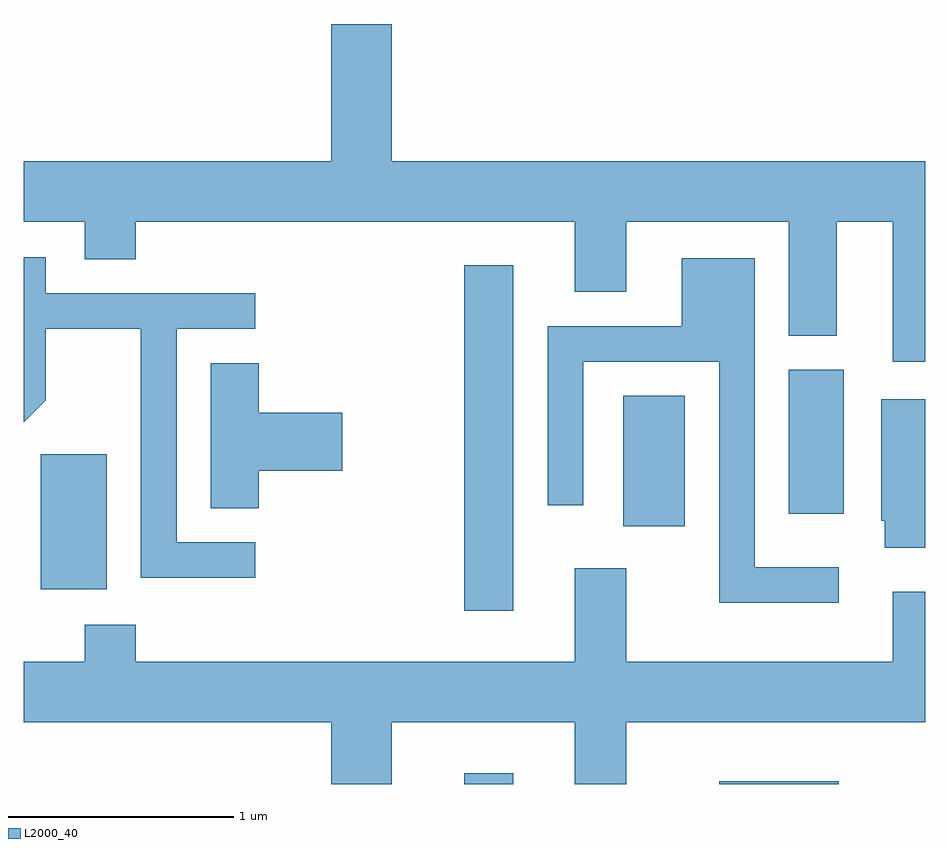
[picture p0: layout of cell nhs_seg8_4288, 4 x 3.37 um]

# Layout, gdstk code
import gdstk
lib = gdstk.Library(unit=1e-6, precision=1e-09)
def R(c, l, rs):  # rectangles x0, y0, x1, y1
    for r in rs: c.add(gdstk.rectangle(r[:2], r[2:], *l))
def P(c, l, *ps):  # polygons
    for p in ps: c.add(gdstk.Polygon(p, *l))
L2000_40 = (2000, 40)

nhs_seg8_4288 = lib.new_cell('nhs_seg8_4288')
R(nhs_seg8_4288, L2000_40, [(315.566,1858.342,315.784,1858.389), (316.696,1858.342,317.228,1858.354), (315.566,1859.111,315.784,1860.644), (313.686,1859.206,313.979,1859.804), (316.271,1859.486,316.544,1860.064), (317.006,1859.541,317.249,1860.179)])
P(nhs_seg8_4288, L2000_40, [(317.611,1861.104),(315.244,1861.104),(315.244,1861.714),(314.976,1861.714),(314.976,1861.104),(313.611,1861.104),(313.611,1860.836),(313.881,1860.836),(313.881,1860.671),(314.109,1860.671),(314.109,1860.836),(316.056,1860.836),(316.056,1860.526),(316.284,1860.526),(316.284,1860.836),(317.006,1860.836),(317.006,1860.331),(317.219,1860.331),(317.219,1860.836),(317.466,1860.836),(317.466,1860.216),(317.611,1860.216)],
  [(314.638,1859.414),(314.289,1859.414),(314.289,1860.361),(314.638,1860.361),(314.638,1860.519),(313.709,1860.519),(313.709,1860.679),(313.611,1860.679),(313.611,1859.946),(313.709,1860.044),(313.709,1860.361),(314.131,1860.361),(314.131,1859.256),(314.638,1859.256)],
  [(317.228,1859.304),(316.854,1859.304),(316.854,1860.674),(316.531,1860.674),(316.531,1860.374),(315.936,1860.374),(315.936,1859.578),(316.094,1859.578),(316.094,1860.216),(316.696,1860.216),(316.696,1859.146),(317.228,1859.146)],
  [(314.654,1859.731),(315.024,1859.731),(315.024,1859.989),(314.654,1859.989),(314.654,1860.209),(314.441,1860.209),(314.441,1859.566),(314.654,1859.566)],
  [(317.611,1860.049),(317.416,1860.049),(317.416,1859.51),(317.431,1859.51),(317.431,1859.391),(317.611,1859.391)],
  [(315.244,1858.616),(316.056,1858.616),(316.056,1858.342),(316.284,1858.342),(316.284,1858.616),(317.611,1858.616),(317.611,1859.194),(317.466,1859.194),(317.466,1858.884),(316.284,1858.884),(316.284,1859.299),(316.056,1859.299),(316.056,1858.884),(314.109,1858.884),(314.109,1859.049),(313.881,1859.049),(313.881,1858.884),(313.611,1858.884),(313.611,1858.616),(314.976,1858.616),(314.976,1858.342),(315.244,1858.342)])

lib.write_gds('nhs_seg8_4288.gds')
